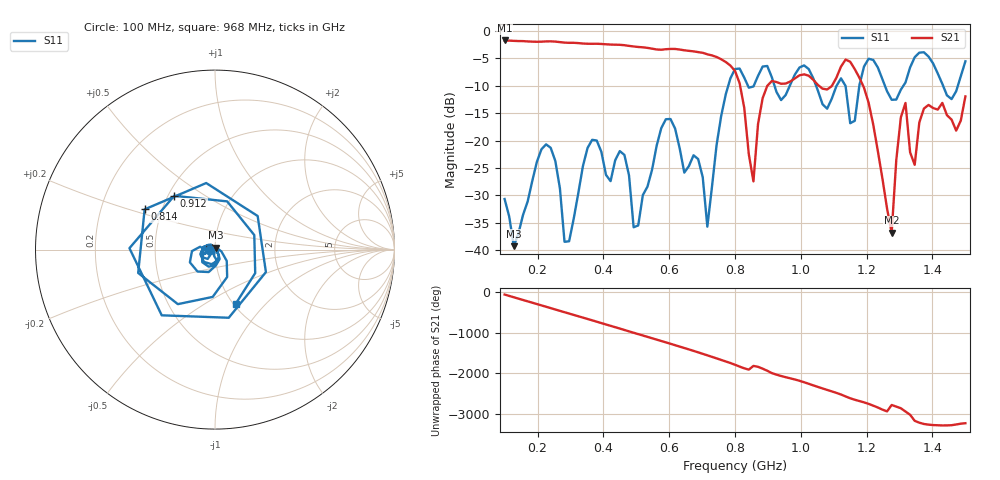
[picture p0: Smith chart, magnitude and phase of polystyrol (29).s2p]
! NanoVNA-App
! Date: 2025-09-26 09:42:06
! Start: 100MHz Stop: 1,5GHz Points: 101
! S-Parameter data: F S11 S21 S12 S22
# Hz S RI R 50
!  Frequency  S11_Real  S11_Imag  S21_Real  S21_Imag  S12_Real  S12_Imag  S22_Real  S22_Imag
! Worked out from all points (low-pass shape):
!   101 points, 100 MHz to 1.5 GHz, reference 50 ohm
!   highest |S21| = -1.79 dB at 100 MHz (marker M1); lowest = -36.8 dB at 1.276 GHz (marker M2)
!   |S21| within 3 dB of the highest: start of sweep to 743.7 MHz
!   lowest |S11| = -39.2 dB at 128 MHz (marker M3), VSWR 1.02, Z = 50.3 + j1.06 ohm
!   |S11| at or under -10 dB: start of sweep to 779.6 MHz; 1.046 GHz to 1.109 GHz (62.87 MHz wide, 5.83 % of centre); 1.255 GHz to 1.312 GHz (56.59 MHz wide, 4.41 % of centre) (the widest 3 of 7)
!   S12 and S22 are empty: the file has one direction only
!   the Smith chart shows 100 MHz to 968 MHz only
!   S11 on the Smith chart (normalised r, x): 100 MHz: 0.94, -0.01; 814 MHz: 0.40, +0.23; 912 MHz: 0.54, +0.38; 968 MHz: 1.03, -0.69
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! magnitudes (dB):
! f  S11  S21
! 100 MHz  -30.7  -1.8
! 128 MHz  -39.2  -1.9
! 212 MHz  -21.6  -2.0
! 254 MHz  -23.7  -2.0
! 282 MHz  -38.4  -2.2
! 338 MHz  -24.6  -2.3
! 464 MHz  -22.6  -2.6
! 506 MHz  -35.5  -3.0
! 576 MHz  -17.7  -3.5
! 688 MHz  -23.4  -3.9
! 716 MHz  -35.7  -4.3
! 800 MHz  -7.0  -7.3
! 814 MHz  -6.9  -9.6
! 856 MHz  -10.2  -27.4
! 912 MHz  -8.5  -9.2
! 968 MHz  -9.8  -9.3
! 1.038 GHz  -8.7  -9.0
! 1.178 GHz  -9.9  -8.6
! 1.276 GHz  -12.6  -36.8
! 1.318 GHz  -9.4  -13.2
! 1.346 GHz  -4.8  -24.4
! 1.5 GHz  -5.6  -12.0
